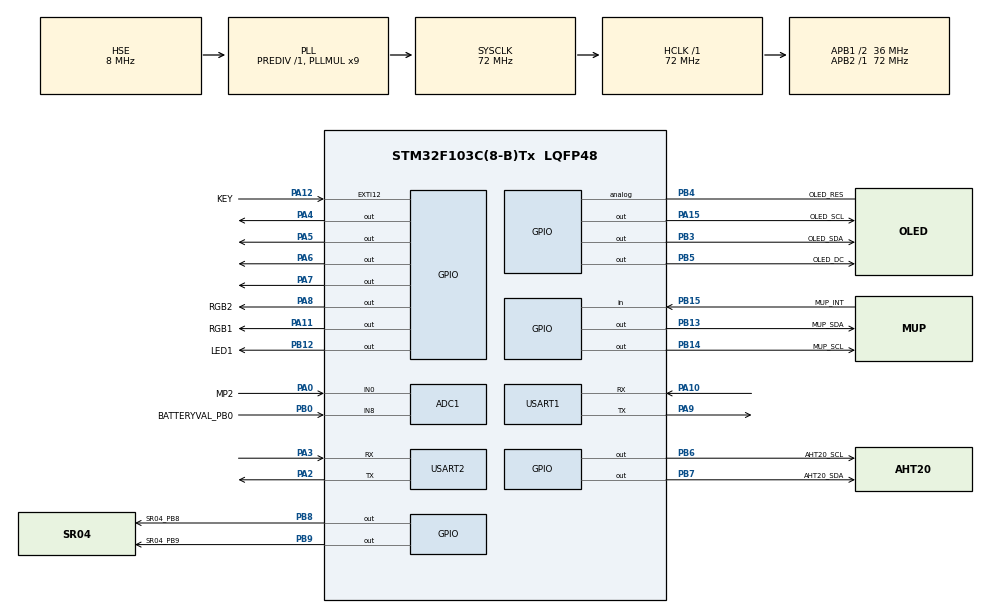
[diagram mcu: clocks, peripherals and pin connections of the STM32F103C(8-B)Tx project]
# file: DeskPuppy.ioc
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ADC1.Channel-0\#ChannelRegularConversion=ADC_CHANNEL_8
ADC1.NbrOfConversionFlag=1
ADC1.Rank-0\#ChannelRegularConversion=1
ADC1.SamplingTime-0\#ChannelRegularConversion=ADC_SAMPLETIME_1CYCLE_5
ADC1.master=1
Dma.Request0=USART2_RX
Dma.Request1=USART1_RX
Dma.Request2=USART1_TX
Dma.USART1_RX.1.Direction=DMA_PERIPH_TO_MEMORY
Dma.USART1_RX.1.Instance=DMA1_Channel5
Dma.USART1_RX.1.MemDataAlignment=DMA_MDATAALIGN_BYTE
Dma.USART1_RX.1.MemInc=DMA_MINC_ENABLE
Dma.USART1_RX.1.Mode=DMA_NORMAL
Dma.USART1_RX.1.PeriphDataAlignment=DMA_PDATAALIGN_BYTE
Dma.USART1_RX.1.PeriphInc=DMA_PINC_DISABLE
Dma.USART1_RX.1.Priority=DMA_PRIORITY_LOW
Dma.USART1_TX.2.Direction=DMA_MEMORY_TO_PERIPH
Dma.USART1_TX.2.Instance=DMA1_Channel4
Dma.USART1_TX.2.MemDataAlignment=DMA_MDATAALIGN_BYTE
Dma.USART1_TX.2.MemInc=DMA_MINC_ENABLE
Dma.USART1_TX.2.Mode=DMA_NORMAL
Dma.USART1_TX.2.PeriphDataAlignment=DMA_PDATAALIGN_BYTE
Dma.USART1_TX.2.PeriphInc=DMA_PINC_DISABLE
Dma.USART1_TX.2.Priority=DMA_PRIORITY_LOW
Dma.USART2_RX.0.Direction=DMA_PERIPH_TO_MEMORY
Dma.USART2_RX.0.Instance=DMA1_Channel6
Dma.USART2_RX.0.MemDataAlignment=DMA_MDATAALIGN_BYTE
Dma.USART2_RX.0.MemInc=DMA_MINC_ENABLE
Dma.USART2_RX.0.Mode=DMA_NORMAL
Dma.USART2_RX.0.PeriphDataAlignment=DMA_PDATAALIGN_BYTE
Dma.USART2_RX.0.PeriphInc=DMA_PINC_DISABLE
Dma.USART2_RX.0.Priority=DMA_PRIORITY_LOW
Mcu.Family=STM32F1
Mcu.Name=STM32F103C(8-B)Tx
Mcu.Package=LQFP48
NVIC.DMA1_Channel4_IRQn=true\:0\:0\:false\:false\:true\:false\:true\:true
NVIC.DMA1_Channel5_IRQn=true\:0\:0\:false\:false\:true\:false\:true\:true
NVIC.DMA1_Channel6_IRQn=true\:0\:0\:false\:false\:true\:false\:true\:true
NVIC.EXTI15_10_IRQn=true\:4\:0\:true\:false\:true\:true\:true\:true
NVIC.PriorityGroup=NVIC_PRIORITYGROUP_4
NVIC.TIM2_IRQn=true\:1\:0\:true\:false\:true\:true\:true\:true
NVIC.USART1_IRQn=true\:2\:0\:true\:false\:true\:true\:true\:true
NVIC.USART2_IRQn=true\:2\:0\:true\:false\:true\:true\:true\:true
PA0-WKUP.GPIO_Label=MP2
PA0-WKUP.Signal=ADCx_IN0
PA10.Mode=Asynchronous
PA10.Signal=USART1_RX
PA11.GPIO_Label=RGB1
PA11.GPIO_Speed=GPIO_SPEED_FREQ_HIGH
PA11.Signal=GPIO_Output
PA12.GPIO_Label=KEY
PA12.GPIO_ModeDefaultEXTI=GPIO_MODE_IT_FALLING
PA12.Signal=GPXTI12
PA13.Mode=Serial_Wire
PA13.Signal=SYS_JTMS-SWDIO
PA14.Mode=Serial_Wire
PA14.Signal=SYS_JTCK-SWCLK
PA15.GPIO_Label=OLED_SCL
PA15.GPIO_Speed=GPIO_SPEED_FREQ_HIGH
PA15.Signal=GPIO_Output
PA2.Mode=Asynchronous
PA2.Signal=USART2_TX
PA3.Mode=Asynchronous
PA3.Signal=USART2_RX
PA4.GPIO_PuPd=GPIO_PULLDOWN
PA4.GPIO_Speed=GPIO_SPEED_FREQ_HIGH
PA4.Signal=GPIO_Output
PA5.GPIO_PuPd=GPIO_PULLDOWN
PA5.GPIO_Speed=GPIO_SPEED_FREQ_HIGH
PA5.Signal=GPIO_Output
PA6.GPIO_PuPd=GPIO_PULLDOWN
PA6.GPIO_Speed=GPIO_SPEED_FREQ_HIGH
PA6.Signal=GPIO_Output
PA7.GPIO_PuPd=GPIO_PULLDOWN
PA7.GPIO_Speed=GPIO_SPEED_FREQ_HIGH
PA7.Signal=GPIO_Output
PA8.GPIO_Label=RGB2
PA8.Signal=GPIO_Output
PA9.Mode=Asynchronous
PA9.Signal=USART1_TX
PB0.GPIO_Label=BATTERYVAL_PB0
PB0.Signal=ADCx_IN8
PB12.GPIO_Label=LED1
PB12.Signal=GPIO_Output
PB13.GPIO_Label=MUP_SDA
PB13.GPIO_ModeDefaultOutputPP=GPIO_MODE_OUTPUT_OD
PB13.GPIO_PuPd=GPIO_NOPULL
PB13.GPIO_Speed=GPIO_SPEED_FREQ_HIGH
PB13.Signal=GPIO_Output
PB14.GPIO_Label=MUP_SCL
PB14.GPIO_ModeDefaultOutputPP=GPIO_MODE_OUTPUT_OD
PB14.GPIO_PuPd=GPIO_NOPULL
PB14.GPIO_Speed=GPIO_SPEED_FREQ_HIGH
PB14.Signal=GPIO_Output
PB15.GPIO_Label=MUP_INT
PB15.Signal=GPIO_Input
PB3.GPIO_Label=OLED_SDA
PB3.GPIO_Speed=GPIO_SPEED_FREQ_HIGH
PB3.Signal=GPIO_Output
PB4.GPIO_Label=OLED_RES
PB4.Signal=GPIO_Analog
PB5.GPIO_Label=OLED_DC
PB5.Signal=GPIO_Output
PB6.GPIO_Label=AHT20_SCL
PB6.Signal=GPIO_Output
PB7.GPIO_Label=AHT20_SDA
PB7.GPIO_PuPd=GPIO_NOPULL
PB7.Signal=GPIO_Output
PB8.GPIO_Label=SR04_PB8
PB8.Signal=GPIO_Output
PB9.GPIO_Label=SR04_PB9
PB9.Signal=GPIO_Output
PD0-OSC_IN.Mode=HSE-External-Oscillator
PD0-OSC_IN.Signal=RCC_OSC_IN
PD1-OSC_OUT.Mode=HSE-External-Oscillator
PD1-OSC_OUT.Signal=RCC_OSC_OUT
ProjectManager.HeapSize=0x200
ProjectManager.StackSize=0x400
ProjectManager.TargetToolchain=CMake
RCC.ADCPresc=RCC_ADCPCLK2_DIV6
RCC.AHBFreq_Value=72000000
RCC.APB1CLKDivider=RCC_HCLK_DIV2
RCC.APB1Freq_Value=36000000
RCC.APB1TimFreq_Value=72000000
RCC.APB2Freq_Value=72000000
RCC.APB2TimFreq_Value=72000000
RCC.HCLKFreq_Value=72000000
RCC.PLLMUL=RCC_PLL_MUL9
RCC.PLLSourceVirtual=RCC_PLLSOURCE_HSE
RCC.SYSCLKFreq_VALUE=72000000
RCC.SYSCLKSource=RCC_SYSCLKSOURCE_PLLCLK
RCC.USBFreq_Value=72000000
SH.ADCx_IN0.0=ADC1_IN0,IN0
SH.ADCx_IN8.0=ADC1_IN8,IN8
TIM2.Period=99
TIM2.Prescaler=71
USART1.VirtualMode=VM_ASYNC
USART2.VirtualMode=VM_ASYNC
VP_TIM2_VS_ClockSourceINT.Mode=Internal
board=custom

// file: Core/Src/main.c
/* USER CODE BEGIN Header */
/**
  ******************************************************************************
  * @file           : main.c
  * @brief          : Main program body
  ******************************************************************************
  * @attention
  *
  * Copyright (c) 2026 STMicroelectronics.
  * All rights reserved.
  *
  * This software is licensed under terms that can be found in the LICENSE file
  * in the root directory of this software component.
  * If no LICENSE file comes with this software, it is provided AS-IS.
  *
  ******************************************************************************
  */
/* USER CODE END Header */
#include "main.h"

/* USER CODE BEGIN Includes */
#include "pose.h"
#include "i2c.h"
#include "oled.h"
#include "mpu6050.h"
#include <stdio.h>
#include "aht20.h"
#include "string.h"
/* USER CODE END Includes */

/* USER CODE BEGIN PTD */
SoftIIC_HandleTypeDef si2c_aht20 = {AHT20_SDA_GPIO_Port, AHT20_SDA_Pin, AHT20_SCL_GPIO_Port, AHT20_SCL_Pin};
SoftIIC_HandleTypeDef si2c_mpu6050 = {MUP_SDA_GPIO_Port, MUP_SDA_Pin, MUP_SCL_GPIO_Port, MUP_SCL_Pin};
/* USER CODE END PTD */

ADC_HandleTypeDef hadc1;

TIM_HandleTypeDef htim2;

UART_HandleTypeDef huart1;
UART_HandleTypeDef huart2;
DMA_HandleTypeDef hdma_usart1_rx;
DMA_HandleTypeDef hdma_usart1_tx;
DMA_HandleTypeDef hdma_usart2_rx;

/* USER CODE BEGIN PV */
TIM_HandleTypeDef htim2;
static uint16_t servo_tick = 0;
static uint16_t servo_pw[4] = {15,15,15,15};
MPU_DataTypeDef mpu_data;
char oled_buf[24];
uint8_t key_trig_flag = 0;
uint32_t key_tick = 0;
AHT20_DataDef aht_data;
char line0[32];
char line1[32];
uint8_t buf_dump[6];
uint8_t usart1_rx_buf[USART1_RX_MAX_LEN];
uint16_t usart1_rx_len = 0;   // uint16_t
uint8_t usart1_msg_ready = 0;

uint8_t usart1_tx_buf[USART1_RX_MAX_LEN];
uint8_t usart1_tx_busy = 0;

uint8_t usart2_rx_buf[USART2_RX_MAX_LEN];
uint16_t usart2_rx_len = 0;   // uint16_t
uint8_t usart2_msg_ready = 0;
uint16_t adc_smoke_raw = 0;
float adc_smoke_volt = 0.0f;

int fputc(int ch, FILE *f)
{
  HAL_UART_Transmit(&huart1, (uint8_t *)&ch, 1, 10);
  return ch;
}
/* USER CODE END PV */

void SystemClock_Config(void);
static void MX_GPIO_Init(void);
static void MX_DMA_Init(void);
static void MX_ADC1_Init(void);
static void MX_TIM2_Init(void);
static void MX_USART2_UART_Init(void);
static void MX_USART1_UART_Init(void);
/* USER CODE BEGIN PFP */
void HAL_UART_TxCpltCallback(UART_HandleTypeDef *huart)
{
  if(huart->Instance == USART1)
  {
    usart1_tx_busy = 0;
  }
}

//USART1 DMA非阻塞发送函数
void USART1_Send_DMA(char *str)
{
  if(str == NULL || usart1_tx_busy == 1)
    return;

  uint16_t len = strlen(str);
  if(len >= sizeof(usart1_tx_buf))
    len = sizeof(usart1_tx_buf)-1;

  memcpy(usart1_tx_buf, str, len);
  HAL_StatusTypeDef ret = HAL_UART_Transmit_DMA(&huart1, usart1_tx_buf, len);
  if(ret == HAL_OK)
  {
    usart1_tx_busy = 1;
  }
}
/* USER CODE END PFP */

/* USER CODE BEGIN 0 */
void PWM_Init(void)
{
	MX_GPIO_Init();
	MX_TIM2_Init();
	HAL_TIM_Base_Start_IT(&htim2);
}
void Servo_SetAngle(uint8_t ch, uint8_t angle)
{
  if(ch > 3) return;
  if(angle > 180) angle = 180;

  // CH2 CH3 右侧通道，角度取反 180-angle
  if(ch == 2 || ch ==3)
  {
    angle = 180 - angle;
  }

  uint32_t mask = __get_PRIMASK();
  __disable_irq();
  servo_pw[ch] = 5 + ((uint32_t)angle * 20)/180;
  __set_PRIMASK(mask);
}

//定时器溢出回调
void HAL_TIM_PeriodElapsedCallback(TIM_HandleTypeDef *htim)
{
	if(htim->Instance == TIM2)
	{
		servo_tick++;
		if(servo_tick >= 200)
		{
			servo_tick = 0;
		}

		//PA4 CH0
		if(servo_tick < servo_pw[0])
			HAL_GPIO_WritePin(GPIOA, GPIO_PIN_4, GPIO_PIN_SET);
		else
			HAL_GPIO_WritePin(GPIOA, GPIO_PIN_4, GPIO_PIN_RESET);

		//PA5 CH1
		if(servo_tick < servo_pw[1])
			HAL_GPIO_WritePin(GPIOA, GPIO_PIN_5, GPIO_PIN_SET);
		else
			HAL_GPIO_WritePin(GPIOA, GPIO_PIN_5, GPIO_PIN_RESET);

		//PA6 CH2
		if(servo_tick < servo_pw[2])
			HAL_GPIO_WritePin(GPIOA, GPIO_PIN_6, GPIO_PIN_SET);
		else
			HAL_GPIO_WritePin(GPIOA, GPIO_PIN_6, GPIO_PIN_RESET);

		//PA7 CH3 新增
		if(servo_tick < servo_pw[3])
			HAL_GPIO_WritePin(GPIOA, GPIO_PIN_7, GPIO_PIN_SET);
		else
			HAL_GPIO_WritePin(GPIOA, GPIO_PIN_7, GPIO_PIN_RESET);
	}
}
void HAL_GPIO_EXTI_Callback(uint16_t GPIO_Pin)
{
    if(GPIO_Pin == GPIO_PIN_12)
    {
        key_trig_flag = 1; //仅仅置标记，不做任何耗时操作
    }
}
uint16_t ADC_Read_Smoke(void)
{
    HAL_ADC_Start(&hadc1);
    HAL_ADC_PollForConversion(&hadc1, HAL_MAX_DELAY);
    uint16_t val = HAL_ADC_GetValue(&hadc1);
    HAL_ADC_Stop(&hadc1);
    return val;
}
/* USER CODE END 0 */

int main(void)
{

  /* MCU Configuration--------------------------------------------------------*/

  /* Reset of all peripherals, Initializes the Flash interface and the Systick. */
  HAL_Init();

  /* Configure the system clock */
  SystemClock_Config();

  /* Initialize all configured peripherals */
  MX_GPIO_Init();
  MX_DMA_Init();
  MX_ADC1_Init();
  MX_TIM2_Init();
  MX_USART2_UART_Init();
  MX_USART1_UART_Init();
  /* USER CODE BEGIN 2 */
  HAL_Init();
  OLED_Init();
  PWM_Init();
  HAL_ADC_Start(&hadc1);
  __HAL_UART_ENABLE_IT(&huart1, UART_IT_IDLE);
  HAL_UART_Receive_DMA(&huart1, usart1_rx_buf, 64);

  __HAL_UART_ENABLE_IT(&huart2, UART_IT_IDLE);
  HAL_UART_Receive_DMA(&huart2, usart2_rx_buf, 64);

  Puppy_Stand();
  HAL_Delay(200);
  HAL_GPIO_WritePin(GPIOB, GPIO_PIN_12,1);
  SoftIIC_Init(&si2c_aht20);
  uint8_t aht_init_ret = AHT20_Init(&si2c_aht20);
  OLED_ClearShowString(0,0,"TEST");
  HAL_Delay(1000);
  /* USER CODE END 2 */

  /* Infinite loop */
  while (1)
  {

    /* USER CODE BEGIN 3 */
    if(key_trig_flag == 1)
    {
      HAL_Delay(50); //阻塞消抖，放在主循环
      //再次读取PA12电平，确认按键仍然按下（低电平）
      if(HAL_GPIO_ReadPin(GPIOA, GPIO_PIN_12) == GPIO_PIN_RESET)
      {
        HAL_GPIO_TogglePin(GPIOB, GPIO_PIN_12); //翻转LED状态
      }
      key_trig_flag = 0; //清除标志，允许下次触发
    }
    uint8_t aht_read_ret = AHT20_ReadData(&si2c_aht20,&aht_data);
    int16_t temp_int = (int16_t)(aht_data.temp * 10);
    int16_t hum_int  = (int16_t)(aht_data.hum * 10);

    sprintf(line0,"T:%d.%dC H:%d.%d%%", temp_int/10, temp_int%10, hum_int/10, hum_int%10);

    OLED_ClearShowString(0,6,line0);

    HAL_Delay(50); //放慢刷新，800ms切换一次，方便你读数
    /*static uint32_t tick_cnt = 0;
    if(HAL_GetTick() - tick_cnt > 1000)
    {
        tick_cnt = HAL_GetTick();
        USART1_Send_DMA("DMA Test OK\r\n");
    }

    // USART1收到数据：OLED显示 + 回显
    if(usart1_msg_ready == 1)
    {
        OLED_Clear();
        OLED_ShowString(0,0,(char*)usart1_rx_buf);
        USART1_Send_DMA((char*)usart1_rx_buf);
        usart1_msg_ready = 0;
    }

    // USART2收到数据
    if(usart2_msg_ready == 1)
    {
        OLED_Clear();
        OLED_ShowString(0,0,(char*)usart2_rx_buf);
        usart2_msg_ready = 0;
    }*/
        // 烟雾ADC采样，500ms一次
    /*static uint32_t adc_tick = 0;
    if(HAL_GetTick() - adc_tick > 500)
    {
        adc_tick = HAL_GetTick();
        adc_smoke_raw = ADC_Read_Smoke();
        adc_smoke_volt = adc_smoke_raw * 3.3f / 4095.0f;

        // OLED显示，放到第2行
        char str[32];
        int16_t volt_int = (int16_t)(adc_smoke_volt * 100);
        sprintf(str,"SMOKE:%d %d.%02d V",adc_smoke_raw, volt_int/100, volt_int%100);
        OLED_ClearShowString(0,4,str);
    }*/

  }

  /* USER CODE END 3 */
}

void SystemClock_Config(void)
{
  RCC_OscInitTypeDef RCC_OscInitStruct = {0};
  RCC_ClkInitTypeDef RCC_ClkInitStruct = {0};
  RCC_PeriphCLKInitTypeDef PeriphClkInit = {0};

  /** Initializes the RCC Oscillators according to the specified parameters
  * in the RCC_OscInitTypeDef structure.
  */
  RCC_OscInitStruct.OscillatorType = RCC_OSCILLATORTYPE_HSE;
  RCC_OscInitStruct.HSEState = RCC_HSE_ON;
  RCC_OscInitStruct.HSEPredivValue = RCC_HSE_PREDIV_DIV1;
  RCC_OscInitStruct.HSIState = RCC_HSI_ON;
  RCC_OscInitStruct.PLL.PLLState = RCC_PLL_ON;
  RCC_OscInitStruct.PLL.PLLSource = RCC_PLLSOURCE_HSE;
  RCC_OscInitStruct.PLL.PLLMUL = RCC_PLL_MUL9;
  if (HAL_RCC_OscConfig(&RCC_OscInitStruct) != HAL_OK)
  {
    Error_Handler();
  }

  /** Initializes the CPU, AHB and APB buses clocks
  */
  RCC_ClkInitStruct.ClockType = RCC_CLOCKTYPE_HCLK|RCC_CLOCKTYPE_SYSCLK
                              |RCC_CLOCKTYPE_PCLK1|RCC_CLOCKTYPE_PCLK2;
  RCC_ClkInitStruct.SYSCLKSource = RCC_SYSCLKSOURCE_PLLCLK;
  RCC_ClkInitStruct.AHBCLKDivider = RCC_SYSCLK_DIV1;
  RCC_ClkInitStruct.APB1CLKDivider = RCC_HCLK_DIV2;
  RCC_ClkInitStruct.APB2CLKDivider = RCC_HCLK_DIV1;

  if (HAL_RCC_ClockConfig(&RCC_ClkInitStruct, FLASH_LATENCY_2) != HAL_OK)
  {
    Error_Handler();
  }
  PeriphClkInit.PeriphClockSelection = RCC_PERIPHCLK_ADC;
  PeriphClkInit.AdcClockSelection = RCC_ADCPCLK2_DIV6;
  if (HAL_RCCEx_PeriphCLKConfig(&PeriphClkInit) != HAL_OK)
  {
    Error_Handler();
  }
}

static void MX_ADC1_Init(void)
{

  ADC_ChannelConfTypeDef sConfig = {0};

  /** Common config
  */
  hadc1.Instance = ADC1;
  hadc1.Init.ScanConvMode = ADC_SCAN_DISABLE;
  hadc1.Init.ContinuousConvMode = DISABLE;
  hadc1.Init.DiscontinuousConvMode = DISABLE;
  hadc1.Init.ExternalTrigConv = ADC_SOFTWARE_START;
  hadc1.Init.DataAlign = ADC_DATAALIGN_RIGHT;
  hadc1.Init.NbrOfConversion = 1;
  if (HAL_ADC_Init(&hadc1) != HAL_OK)
  {
    Error_Handler();
  }

  /** Configure Regular Channel
  */
  sConfig.Channel = ADC_CHANNEL_8;
  sConfig.Rank = ADC_REGULAR_RANK_1;
  sConfig.SamplingTime = ADC_SAMPLETIME_1CYCLE_5;
  if (HAL_ADC_ConfigChannel(&hadc1, &sConfig) != HAL_OK)
  {
    Error_Handler();
  }

}

static void MX_TIM2_Init(void)
{

  TIM_ClockConfigTypeDef sClockSourceConfig = {0};
  TIM_MasterConfigTypeDef sMasterConfig = {0};

  htim2.Instance = TIM2;
  htim2.Init.Prescaler = 71;
  htim2.Init.CounterMode = TIM_COUNTERMODE_UP;
  htim2.Init.Period = 99;
  htim2.Init.ClockDivision = TIM_CLOCKDIVISION_DIV1;
  htim2.Init.AutoReloadPreload = TIM_AUTORELOAD_PRELOAD_DISABLE;
  if (HAL_TIM_Base_Init(&htim2) != HAL_OK)
  {
    Error_Handler();
  }
  sClockSourceConfig.ClockSource = TIM_CLOCKSOURCE_INTERNAL;
  if (HAL_TIM_ConfigClockSource(&htim2, &sClockSourceConfig) != HAL_OK)
  {
    Error_Handler();
  }
  sMasterConfig.MasterOutputTrigger = TIM_TRGO_RESET;
  sMasterConfig.MasterSlaveMode = TIM_MASTERSLAVEMODE_DISABLE;
  if (HAL_TIMEx_MasterConfigSynchronization(&htim2, &sMasterConfig) != HAL_OK)
  {
    Error_Handler();
  }

}

static void MX_USART1_UART_Init(void)
{

  huart1.Instance = USART1;
  huart1.Init.BaudRate = 115200;
  huart1.Init.WordLength = UART_WORDLENGTH_8B;
  huart1.Init.StopBits = UART_STOPBITS_1;
  huart1.Init.Parity = UART_PARITY_NONE;
  huart1.Init.Mode = UART_MODE_TX_RX;
  huart1.Init.HwFlowCtl = UART_HWCONTROL_NONE;
  huart1.Init.OverSampling = UART_OVERSAMPLING_16;
  if (HAL_UART_Init(&huart1) != HAL_OK)
  {
    Error_Handler();
  }

}

static void MX_USART2_UART_Init(void)
{

  huart2.Instance = USART2;
  huart2.Init.BaudRate = 115200;
  huart2.Init.WordLength = UART_WORDLENGTH_8B;
  huart2.Init.StopBits = UART_STOPBITS_1;
  huart2.Init.Parity = UART_PARITY_NONE;
  huart2.Init.Mode = UART_MODE_TX_RX;
  huart2.Init.HwFlowCtl = UART_HWCONTROL_NONE;
  huart2.Init.OverSampling = UART_OVERSAMPLING_16;
  if (HAL_UART_Init(&huart2) != HAL_OK)
  {
    Error_Handler();
  }

}

static void MX_DMA_Init(void)
{

  /* DMA controller clock enable */
  __HAL_RCC_DMA1_CLK_ENABLE();

  /* DMA interrupt init */
  /* DMA1_Channel4_IRQn interrupt configuration */
  HAL_NVIC_SetPriority(DMA1_Channel4_IRQn, 0, 0);
  HAL_NVIC_EnableIRQ(DMA1_Channel4_IRQn);
  /* DMA1_Channel5_IRQn interrupt configuration */
  HAL_NVIC_SetPriority(DMA1_Channel5_IRQn, 0, 0);
  HAL_NVIC_EnableIRQ(DMA1_Channel5_IRQn);
  /* DMA1_Channel6_IRQn interrupt configuration */
  HAL_NVIC_SetPriority(DMA1_Channel6_IRQn, 0, 0);
  HAL_NVIC_EnableIRQ(DMA1_Channel6_IRQn);

}

static void MX_GPIO_Init(void)
{
  GPIO_InitTypeDef GPIO_InitStruct = {0};

  /* GPIO Ports Clock Enable */
  __HAL_RCC_GPIOD_CLK_ENABLE();
  __HAL_RCC_GPIOA_CLK_ENABLE();
  __HAL_RCC_GPIOB_CLK_ENABLE();

  /*Configure GPIO pin Output Level */
  HAL_GPIO_WritePin(GPIOA, GPIO_PIN_4|GPIO_PIN_5|GPIO_PIN_6|GPIO_PIN_7
                          |RGB2_Pin|RGB1_Pin|OLED_SCL_Pin, GPIO_PIN_RESET);

  /*Configure GPIO pin Output Level */
  HAL_GPIO_WritePin(GPIOB, LED1_Pin|MUP_SDA_Pin|MUP_SCL_Pin|OLED_SDA_Pin
                          |OLED_DC_Pin|AHT20_SCL_Pin|AHT20_SDA_Pin|SR04_PB8_Pin
                          |SR04_PB9_Pin, GPIO_PIN_RESET);

  /*Configure GPIO pins : PA4 PA5 PA6 PA7 */
  GPIO_InitStruct.Pin = GPIO_PIN_4|GPIO_PIN_5|GPIO_PIN_6|GPIO_PIN_7;
  GPIO_InitStruct.Mode = GPIO_MODE_OUTPUT_PP;
  GPIO_InitStruct.Pull = GPIO_PULLDOWN;
  GPIO_InitStruct.Speed = GPIO_SPEED_FREQ_HIGH;
  HAL_GPIO_Init(GPIOA, &GPIO_InitStruct);

  /*Configure GPIO pins : LED1_Pin OLED_DC_Pin AHT20_SCL_Pin AHT20_SDA_Pin
                           SR04_PB8_Pin SR04_PB9_Pin */
  GPIO_InitStruct.Pin = LED1_Pin|OLED_DC_Pin|AHT20_SCL_Pin|AHT20_SDA_Pin
                          |SR04_PB8_Pin|SR04_PB9_Pin;
  GPIO_InitStruct.Mode = GPIO_MODE_OUTPUT_PP;
  GPIO_InitStruct.Pull = GPIO_NOPULL;
  GPIO_InitStruct.Speed = GPIO_SPEED_FREQ_LOW;
  HAL_GPIO_Init(GPIOB, &GPIO_InitStruct);

  /*Configure GPIO pins : MUP_SDA_Pin MUP_SCL_Pin */
  GPIO_InitStruct.Pin = MUP_SDA_Pin|MUP_SCL_Pin;
  GPIO_InitStruct.Mode = GPIO_MODE_OUTPUT_OD;
  GPIO_InitStruct.Pull = GPIO_NOPULL;
  GPIO_InitStruct.Speed = GPIO_SPEED_FREQ_HIGH;
  HAL_GPIO_Init(GPIOB, &GPIO_InitStruct);

  /*Configure GPIO pin : MUP_INT_Pin */
  GPIO_InitStruct.Pin = MUP_INT_Pin;
  GPIO_InitStruct.Mode = GPIO_MODE_INPUT;
  GPIO_InitStruct.Pull = GPIO_NOPULL;
  HAL_GPIO_Init(MUP_INT_GPIO_Port, &GPIO_InitStruct);

  /*Configure GPIO pin : RGB2_Pin */
  GPIO_InitStruct.Pin = RGB2_Pin;
  GPIO_InitStruct.Mode = GPIO_MODE_OUTPUT_PP;
  GPIO_InitStruct.Pull = GPIO_NOPULL;
  GPIO_InitStruct.Speed = GPIO_SPEED_FREQ_LOW;
  HAL_GPIO_Init(RGB2_GPIO_Port, &GPIO_InitStruct);

  /*Configure GPIO pins : RGB1_Pin OLED_SCL_Pin */
  GPIO_InitStruct.Pin = RGB1_Pin|OLED_SCL_Pin;
  GPIO_InitStruct.Mode = GPIO_MODE_OUTPUT_PP;
  GPIO_InitStruct.Pull = GPIO_NOPULL;
  GPIO_InitStruct.Speed = GPIO_SPEED_FREQ_HIGH;
  HAL_GPIO_Init(GPIOA, &GPIO_InitStruct);

  /*Configure GPIO pin : KEY_Pin */
  GPIO_InitStruct.Pin = KEY_Pin;
  GPIO_InitStruct.Mode = GPIO_MODE_IT_FALLING;
  GPIO_InitStruct.Pull = GPIO_NOPULL;
  HAL_GPIO_Init(KEY_GPIO_Port, &GPIO_InitStruct);

  /*Configure GPIO pin : OLED_SDA_Pin */
  GPIO_InitStruct.Pin = OLED_SDA_Pin;
  GPIO_InitStruct.Mode = GPIO_MODE_OUTPUT_PP;
  GPIO_InitStruct.Pull = GPIO_NOPULL;
  GPIO_InitStruct.Speed = GPIO_SPEED_FREQ_HIGH;
  HAL_GPIO_Init(OLED_SDA_GPIO_Port, &GPIO_InitStruct);

  /*Configure GPIO pin : OLED_RES_Pin */
  GPIO_InitStruct.Pin = OLED_RES_Pin;
  GPIO_InitStruct.Mode = GPIO_MODE_ANALOG;
  HAL_GPIO_Init(OLED_RES_GPIO_Port, &GPIO_InitStruct);

  /* EXTI interrupt init*/
  HAL_NVIC_SetPriority(EXTI15_10_IRQn, 4, 0);
  HAL_NVIC_EnableIRQ(EXTI15_10_IRQn);

}

void Error_Handler(void)
{
  __disable_irq();
  while (1)
  {
  }
}
